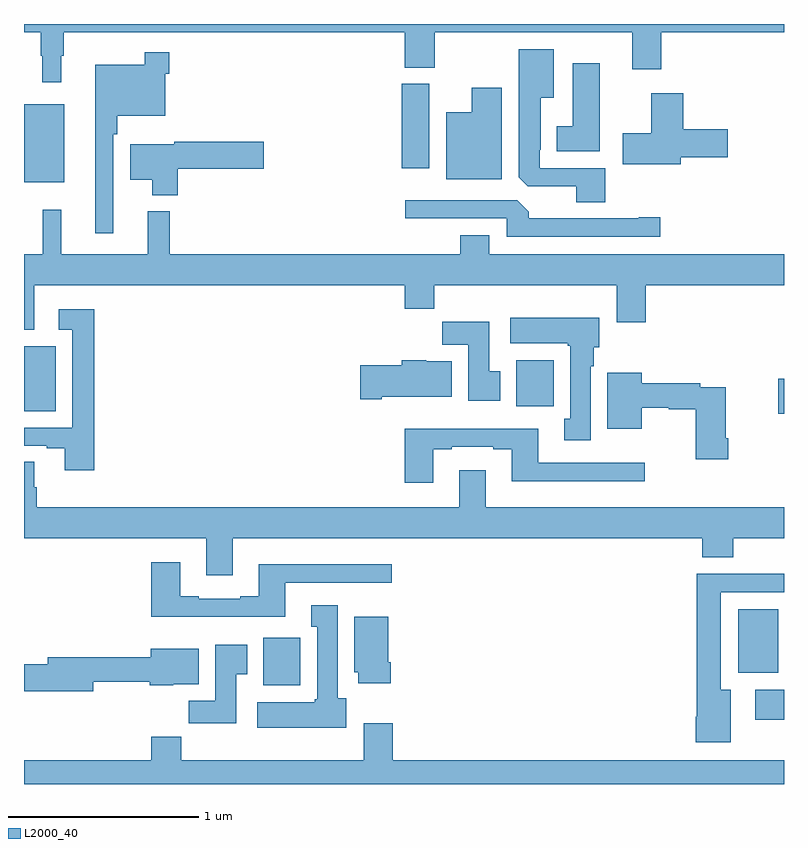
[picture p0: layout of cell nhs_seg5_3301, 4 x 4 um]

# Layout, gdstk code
import gdstk
lib = gdstk.Library(unit=1e-6, precision=1e-09)
def R(c, l, rs):  # rectangles x0, y0, x1, y1
    for r in rs: c.add(gdstk.rectangle(r[:2], r[2:], *l))
def P(c, l, *ps):  # polygons
    for p in ps: c.add(gdstk.Polygon(p, *l))
L2000_40 = (2000, 40)

nhs_seg5_3301 = lib.new_cell('nhs_seg5_3301')
R(nhs_seg5_3301, L2000_40, [(306.849,857.136,307,857.295), (304.259,857.318,304.455,857.569), (306.758,857.384,306.97,857.719), (306.969,858.749,307,858.932), (303.002,858.76,303.166,859.104), (305.591,858.788,305.788,859.03), (303,859.967,303.211,860.377), (304.988,860.04,305.134,860.484)])
P(nhs_seg5_3301, L2000_40, [(303.196,860.633),(303.208,860.633),(303.208,860.756),(305.003,860.756),(305.003,860.569),(305.163,860.569),(305.163,860.756),(306.2,860.756),(306.2,860.562),(306.353,860.562),(306.353,860.756),(307,860.756),(307,860.799),(303,860.799),(303,860.756),(303.087,860.756),(303.087,860.633),(303.097,860.633),(303.097,860.493),(303.196,860.493)],
  [(306.059,860.04),(305.715,860.04),(305.715,860.137),(305.719,860.137),(305.719,860.411),(305.788,860.411),(305.788,860.665),(305.603,860.665),(305.603,859.993),(305.652,859.944),(305.906,859.944),(305.906,859.861),(306.059,859.861)],
  [(303.471,860.219),(303.491,860.219),(303.491,860.315),(303.744,860.315),(303.744,860.537),(303.764,860.537),(303.764,860.65),(303.636,860.65),(303.636,860.584),(303.374,860.584),(303.374,859.698),(303.471,859.698)],
  [(306.031,860.593),(305.888,860.593),(305.888,860.26),(305.804,860.26),(305.804,860.129),(306.031,860.129)],
  [(305.515,860.464),(305.357,860.464),(305.357,860.335),(305.222,860.335),(305.222,859.982),(305.515,859.982)],
  [(306.457,860.099),(306.703,860.099),(306.703,860.246),(306.47,860.246),(306.47,860.434),(306.302,860.434),(306.302,860.223),(306.15,860.223),(306.15,860.06),(306.457,860.06)],
  [(303.809,860.038),(304.261,860.038),(304.261,860.18),(303.792,860.18),(303.792,860.167),(303.56,860.167),(303.56,859.979),(303.674,859.979),(303.674,859.898),(303.809,859.898)],
  [(306.349,859.781),(306.236,859.781),(306.236,859.776),(305.657,859.776),(305.657,859.81),(305.595,859.872),(305.007,859.872),(305.007,859.776),(305.541,859.776),(305.541,859.68),(306.349,859.68)],
  [(303.055,859.424),(305.003,859.424),(305.003,859.3),(305.159,859.3),(305.159,859.424),(306.119,859.424),(306.119,859.23),(306.272,859.23),(306.272,859.424),(307,859.424),(307,859.588),(305.449,859.588),(305.449,859.687),(305.297,859.687),(305.297,859.588),(303.767,859.588),(303.767,859.813),(303.65,859.813),(303.65,859.588),(303.197,859.588),(303.197,859.822),(303.098,859.822),(303.098,859.588),(303,859.588),(303,859.189),(303.055,859.189)],
  [(303.371,859.297),(303.183,859.297),(303.183,859.191),(303.255,859.191),(303.255,858.675),(303,858.675),(303,858.579),(303.119,858.579),(303.119,858.567),(303.215,858.567),(303.215,858.45),(303.371,858.45)],
  [(305.983,858.998),(305.998,858.998),(305.998,859.098),(306.028,859.098),(306.028,859.252),(305.559,859.252),(305.559,859.118),(305.863,859.118),(305.863,859.105),(305.876,859.105),(305.876,858.722),(305.843,858.722),(305.843,858.609),(305.983,858.609)],
  [(305.506,858.972),(305.449,858.972),(305.449,859.231),(305.2,859.231),(305.2,859.112),(305.339,859.112),(305.339,858.816),(305.506,858.816)],
  [(304.882,858.836),(305.251,858.836),(305.251,859.024),(305.118,859.024),(305.118,859.03),(304.988,859.03),(304.988,859.002),(304.77,859.002),(304.77,858.824),(304.882,858.824)],
  [(306.707,858.619),(306.694,858.619),(306.694,858.888),(306.56,858.888),(306.56,858.908),(306.25,858.908),(306.25,858.964),(306.071,858.964),(306.071,858.668),(306.25,858.668),(306.25,858.78),(306.393,858.78),(306.393,858.772),(306.536,858.772),(306.536,858.507),(306.707,858.507)],
  [(305.155,858.561),(305.251,858.561),(305.251,858.573),(305.471,858.573),(305.471,858.561),(305.567,858.561),(305.567,858.392),(306.268,858.392),(306.268,858.489),(305.707,858.489),(305.707,858.67),(305.003,858.67),(305.003,858.384),(305.155,858.384)],
  [(304.099,858.092),(306.569,858.092),(306.569,857.993),(306.734,857.993),(306.734,858.092),(307,858.092),(307,858.256),(305.431,858.256),(305.431,858.451),(305.291,858.451),(305.291,858.256),(303.068,858.256),(303.068,858.362),(303.055,858.362),(303.055,858.494),(303,858.494),(303,858.092),(303.959,858.092),(303.959,857.898),(304.099,857.898)],
  [(304.375,857.859),(304.936,857.859),(304.936,857.956),(304.235,857.956),(304.235,857.788),(304.139,857.788),(304.139,857.775),(303.919,857.775),(303.919,857.788),(303.823,857.788),(303.823,857.965),(303.671,857.965),(303.671,857.678),(304.375,857.678)],
  [(306.721,857.296),(306.667,857.296),(306.667,857.808),(307,857.808),(307,857.906),(306.542,857.906),(306.542,857.154),(306.536,857.154),(306.536,857.018),(306.721,857.018)],
  [(304.696,857.25),(304.651,857.25),(304.651,857.74),(304.511,857.74),(304.511,857.627),(304.544,857.627),(304.544,857.244),(304.531,857.244),(304.531,857.23),(304.227,857.23),(304.227,857.096),(304.696,857.096)],
  [(304.931,857.44),(304.918,857.44),(304.918,857.68),(304.739,857.68),(304.739,857.388),(304.76,857.388),(304.76,857.328),(304.931,857.328)],
  [(304.117,857.377),(304.174,857.377),(304.174,857.533),(304.007,857.533),(304.007,857.236),(303.868,857.236),(303.868,857.118),(304.117,857.118)],
  [(303.364,857.337),(303.661,857.337),(303.661,857.318),(303.786,857.318),(303.786,857.324),(303.919,857.324),(303.919,857.512),(303.668,857.512),(303.668,857.465),(303.125,857.465),(303.125,857.429),(303,857.429),(303,857.287),(303.364,857.287)],
  [(307,856.924),(304.94,856.924),(304.94,857.119),(304.787,857.119),(304.787,856.924),(303.827,856.924),(303.827,857.048),(303.671,857.048),(303.671,856.924),(303,856.924),(303,856.799),(307,856.799)])

lib.write_gds('nhs_seg5_3301.gds')
